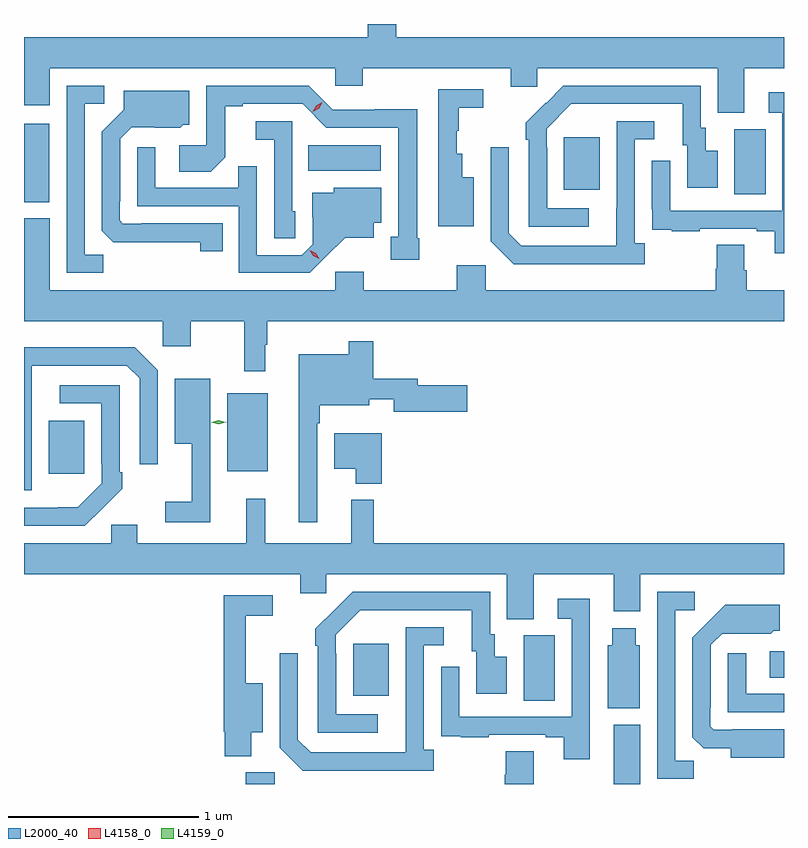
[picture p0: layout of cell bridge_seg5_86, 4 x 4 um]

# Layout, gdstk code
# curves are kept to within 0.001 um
import gdstk
lib = gdstk.Library(unit=1e-6, precision=1e-09)
def R(c, l, rs):  # rectangles x0, y0, x1, y1
    for r in rs: c.add(gdstk.rectangle(r[:2], r[2:], *l))
def P(c, l, *ps):  # polygons
    for p in ps: c.add(gdstk.Polygon(p, *l))
L2000_40 = (2000, 40)
L4158_0 = (4158, 0)
L4159_0 = (4159, 0)

bridge_seg5_86 = lib.new_cell('bridge_seg5_86')
R(bridge_seg5_86, L2000_40, [(123.719,903.609,123.87,903.67), (125.654,903.609,125.794,903.922), (125.18,904.048,125.344,904.392), (124.283,904.073,124.471,904.348), (126.477,904.168,126.551,904.308), (122.681,905.241,122.869,905.521), (123.62,905.255,123.835,905.665), (122.551,906.671,122.683,907.084), (126.29,906.712,126.454,907.056), (125.393,906.737,125.581,907.012), (124.048,906.836,124.429,906.97)])
P(bridge_seg5_86, L2000_40, [(126.343,907.376),(126.551,907.376),(126.551,907.54),(124.509,907.54),(124.509,907.609),(124.361,907.609),(124.361,907.54),(122.551,907.54),(122.551,907.182),(122.686,907.182),(122.686,907.376),(124.188,907.376),(124.188,907.283),(124.335,907.283),(124.335,907.376),(125.114,907.376),(125.114,907.278),(125.253,907.278),(125.253,907.376),(126.203,907.376),(126.203,907.141),(126.343,907.141)],
  [(124.631,906.481),(124.621,906.481),(124.621,907.16),(124.398,907.16),(124.398,907.158),(124.176,907.158),(124.05,907.284),(123.51,907.284),(123.51,906.972),(123.369,906.972),(123.369,906.832),(123.533,906.832),(123.609,906.908),(123.609,907.176),(123.703,907.176),(123.703,907.188),(124.017,907.188),(124.143,907.062),(124.52,907.062),(124.52,906.489),(124.481,906.489),(124.481,906.369),(124.631,906.369)],
  [(122.967,906.395),(122.871,906.395),(122.871,907.188),(122.974,907.188),(122.974,907.284),(122.775,907.284),(122.775,906.3),(122.967,906.3)],
  [(125.524,906.639),(125.304,906.639),(125.304,906.959),(125.301,906.959),(125.301,907.059),(125.43,907.188),(126.017,907.188),(126.017,906.972),(126.041,906.972),(126.041,906.747),(126.202,906.747),(126.202,906.943),(126.139,906.943),(126.139,907.062),(126.114,907.062),(126.114,907.284),(125.39,907.284),(125.193,907.089),(125.193,907.001),(125.208,907.001),(125.208,906.543),(125.524,906.543)],
  [(124.918,906.802),(124.858,906.802),(124.858,906.925),(124.829,906.925),(124.829,907.047),(124.84,907.047),(124.84,907.168),(124.969,907.168),(124.969,907.266),(124.731,907.266),(124.731,906.798),(124.73,906.798),(124.73,906.545),(124.918,906.545)],
  [(123.596,906.561),(123.172,906.561),(123.172,906.558),(123.072,906.558),(123.054,906.576),(123.054,906.676),(123.057,906.676),(123.057,907.005),(123.117,907.065),(123.374,907.064),(123.39,907.08),(123.421,907.08),(123.421,907.258),(123.077,907.258),(123.077,907.158),(122.961,907.042),(122.961,906.52),(123.02,906.461),(123.478,906.46),(123.478,906.414),(123.596,906.414)],
  [(126.551,907.249),(126.471,907.249),(126.471,907.143),(126.543,907.143),(126.543,906.627),(125.952,906.627),(125.952,906.889),(125.856,906.889),(125.856,906.634),(125.857,906.634),(125.857,906.525),(125.959,906.525),(125.959,906.519),(126.107,906.519),(126.107,906.531),(126.407,906.531),(126.407,906.519),(126.503,906.519),(126.503,906.402),(126.551,906.402)],
  [(125.818,906.454),(125.766,906.454),(125.766,907.002),(125.869,907.002),(125.869,907.098),(125.67,907.098),(125.669,906.441),(125.169,906.441),(125.103,906.507),(125.103,906.961),(125.007,906.961),(125.007,906.465),(125.128,906.344),(125.818,906.344)],
  [(123.978,906.624),(123.963,906.624),(123.963,907.098),(123.771,907.098),(123.771,907.001),(123.867,907.001),(123.867,906.481),(123.978,906.481)],
  [(124.138,906.383),(124.241,906.485),(124.393,906.485),(124.393,906.564),(124.432,906.564),(124.432,906.748),(124.182,906.748),(124.182,906.721),(124.067,906.721),(124.067,906.592),(124.071,906.592),(124.071,906.45),(124.014,906.393),(123.777,906.393),(123.777,906.86),(123.679,906.86),(123.679,906.747),(123.243,906.747),(123.243,906.961),(123.147,906.961),(123.147,906.651),(123.681,906.651),(123.681,906.3),(124.054,906.3)],
  [(123.82,905.921),(123.832,905.921),(123.832,906.044),(126.551,906.044),(126.551,906.208),(126.356,906.208),(126.356,906.314),(126.343,906.314),(126.343,906.446),(126.196,906.446),(126.196,906.321),(126.191,906.321),(126.191,906.208),(124.98,906.208),(124.98,906.34),(124.829,906.34),(124.829,906.208),(124.34,906.208),(124.34,906.304),(124.188,906.304),(124.188,906.208),(122.686,906.208),(122.686,906.586),(122.551,906.586),(122.551,906.044),(123.282,906.044),(123.282,905.913),(123.429,905.913),(123.429,906.044),(123.711,906.044),(123.711,905.781),(123.82,905.781)],
  [(124.095,905.507),(124.108,905.507),(124.108,905.603),(124.369,905.603),(124.369,905.633),(124.496,905.633),(124.496,905.567),(124.885,905.567),(124.885,905.709),(124.624,905.709),(124.624,905.743),(124.388,905.743),(124.388,905.938),(124.26,905.938),(124.26,905.872),(123.998,905.872),(123.998,904.986),(124.095,904.986)],
  [(122.592,905.811),(123.093,905.811),(123.159,905.745),(123.159,905.292),(123.255,905.292),(123.255,905.787),(123.134,905.908),(122.551,905.908),(122.551,905.154),(122.592,905.154)],
  [(123.531,905.503),(123.532,905.503),(123.532,905.743),(123.344,905.743),(123.344,905.399),(123.434,905.399),(123.434,905.095),(123.294,905.095),(123.294,904.986),(123.531,904.986)],
  [(122.963,905.059),(122.964,905.058),(123.069,905.163),(123.069,905.251),(123.054,905.251),(123.054,905.709),(122.739,905.709),(122.739,905.613),(122.958,905.613),(122.958,905.293),(122.961,905.293),(122.961,905.193),(122.833,905.065),(122.551,905.064),(122.551,904.968),(122.872,904.968)],
  [(124.433,905.455),(124.184,905.455),(124.184,905.267),(124.298,905.267),(124.298,905.189),(124.433,905.189)],
  [(125.233,904.712),(125.654,904.712),(125.654,904.518),(125.794,904.518),(125.794,904.712),(126.551,904.712),(126.551,904.876),(124.391,904.876),(124.391,905.104),(124.274,905.104),(124.274,904.876),(123.821,904.876),(123.821,905.11),(123.722,905.11),(123.722,904.876),(123.148,904.876),(123.148,904.974),(123.009,904.974),(123.009,904.876),(122.551,904.876),(122.551,904.712),(124.004,904.712),(124.004,904.614),(124.143,904.614),(124.143,904.712),(125.093,904.712),(125.093,904.477),(125.233,904.477)],
  [(124.414,903.975),(124.194,903.975),(124.194,904.295),(124.191,904.295),(124.191,904.395),(124.32,904.524),(124.907,904.524),(124.907,904.308),(124.931,904.308),(124.931,904.083),(125.092,904.083),(125.092,904.279),(125.029,904.279),(125.029,904.398),(125.004,904.398),(125.004,904.62),(124.28,904.62),(124.083,904.425),(124.083,904.337),(124.098,904.337),(124.098,903.879),(124.414,903.879)],
  [(126.075,903.731),(125.979,903.731),(125.979,904.524),(126.082,904.524),(126.082,904.62),(125.883,904.62),(125.883,903.636),(126.075,903.636)],
  [(123.748,903.881),(123.808,903.881),(123.808,904.138),(123.719,904.138),(123.719,904.494),(123.859,904.494),(123.859,904.602),(123.601,904.602),(123.601,903.885),(123.608,903.885),(123.608,903.755),(123.748,903.755)],
  [(125.529,904.585),(125.361,904.585),(125.361,904.479),(125.433,904.479),(125.433,903.963),(124.842,903.963),(124.842,904.225),(124.746,904.225),(124.746,903.97),(124.747,903.97),(124.747,903.861),(124.849,903.861),(124.849,903.855),(124.997,903.855),(124.997,903.867),(125.297,903.867),(125.297,903.855),(125.393,903.855),(125.393,903.738),(125.529,903.738)],
  [(126.551,903.898),(126.28,903.898),(126.28,903.894),(126.18,903.894),(126.162,903.912),(126.162,904.012),(126.165,904.012),(126.165,904.341),(126.225,904.401),(126.482,904.4),(126.498,904.416),(126.529,904.416),(126.529,904.552),(126.241,904.552),(126.069,904.378),(126.069,903.856),(126.128,903.797),(126.272,903.797),(126.272,903.746),(126.551,903.746)],
  [(124.708,903.79),(124.656,903.79),(124.656,904.338),(124.759,904.338),(124.759,904.434),(124.56,904.434),(124.559,903.777),(124.059,903.777),(123.993,903.843),(123.993,904.297),(123.897,904.297),(123.897,903.801),(124.018,903.68),(124.708,903.68)],
  [(125.791,904.338),(125.77,904.338),(125.77,904.429),(125.648,904.429),(125.648,904.338),(125.624,904.338),(125.624,904.007),(125.791,904.007)],
  [(126.551,904.083),(126.351,904.083),(126.351,904.297),(126.255,904.297),(126.255,903.987),(126.551,903.987)],
  [(125.233,903.782),(125.086,903.782),(125.086,903.657),(125.081,903.657),(125.081,903.609),(125.233,903.609)])
P(bridge_seg5_86, L4158_0, [(124.072,907.147),(124.072,907.147),(124.089,907.18),(124.121,907.198),(124.121,907.198),(124.121,907.198),(124.104,907.166),(124.072,907.147)],
  [(124.104,906.373),(124.073,906.388),(124.055,906.417),(124.055,906.418),(124.055,906.418),(124.086,906.403),(124.104,906.373),(124.104,906.373)])
P(bridge_seg5_86, L4159_0, [(123.575,905.503),(123.536,905.514),(123.536,905.514),(123.536,905.514),(123.575,905.523),(123.614,905.513),(123.615,905.513),(123.614,905.512)])

lib.write_gds('bridge_seg5_86.gds')
